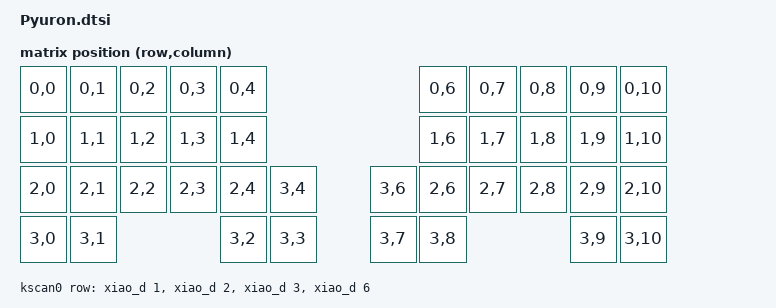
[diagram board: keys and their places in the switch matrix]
#include <dt-bindings/zmk/matrix_transform.h>
#include <dt-bindings/zmk/input_transform.h>
#include <dt-bindings/input/input-event-codes.h>
#include <dt-bindings/zmk/bt.h>
#include <input/processors.dtsi>
#include <physical_layouts.dtsi>
#include <dt-bindings/zmk/input.h>
#include <input/processors.dtsi>
#include <input/processors/runtime-input-processor.dtsi>
// The .dtsi provides default device definitions
// - mouse_runtime_input_processor
// - scroll_runtime_input_processor

/ {
    // Then use it in your input device configuration
    my_input_listener {
        // ... other config ...
        input-processors = <&mouse_runtime_input_processor>;

        scroller {
			// layers = <9>;
			input-processors = <&zip_xy_to_scroll_mapper &scroll_runtime_input_processor>;
		};
    };

    // For split keyboard, you can configure input processor in central
    split_input: split_input {
        compatible = "zmk,input-split"
    };
    split_listener: split_listener {
        compatible = "zmk,input-listener";
        status = <disabled>;
        device = <&split_input>;
    };

    my_rip: my_rip {
		compatible = "zmk,input-processor-runtime";
		processor-label = "custom";
		type = <INPUT_EV_REL>;
		x-codes = <INPUT_REL_X>;
		y-codes = <INPUT_REL_Y>;
		scale-multiplier = <1>;
		scale-divisor = <1>;
		rotation-degrees = <0>;
		track-remainders;

		// Optional: Temp-layer layer default settings
		temp-layer-enabled;  // Enable temp-layer by default
		temp-layer = <1>;  // Default to layer 1
		temp-layer-activation-delay-ms = <100>;  // 100ms activation delay
		temp-layer-deactivation-delay-ms = <500>;  // 500ms deactivation delay

		// Optional: Active layers configuration
		// Bitmask of layers where processor should be active (0 = all layers)
		// Each bit represents a layer: bit 0 = layer 0, bit 1 = layer 1, etc.
		// Example: active-layers = <0x00000003> activates on layers 0 and 1 only
		active-layers = <0>;  // Default: active on all layers

		// Optional: Performance optimization
		temp-layer-transparent-behavior = <&trans>;
		temp-layer-kp-behavior = <&kp>;
		temp-layer-keep-keycodes = <LEFT_CONTROL LEFT_SHIFT LEFT_ALT LEFT_GUI RIGHT_CONTROL RIGHT_SHIFT RIGHT_ALT RIGHT_GUI>;

		#input-processor-cells = <0>;
	};
};

// <central>.overlay
&split_listener {
    status = "okay";
    input-processors = <&my_rip>;
};
&uicr {
    nfct-pins-as-gpios;
};

/ {
    chosen {
        zmk,physical-layout = &default_layout;
    };

split_inputs {
      #address-cells = <1>;
      #size-cells = <0>;

      trackball_split_L: trackball_split_L@0 {
        compatible = "zmk,input-split";
        reg = <0>;
      };
    };

    trackball_listener_L: trackball_listener_L {
      compatible = "zmk,input-listener";
      status = "disabled";
      device = <&trackball_split_L>;
        input-processors =
            <&zip_xy_transform (INPUT_TRANSFORM_XY_SWAP | INPUT_TRANSFORM_X_INVERT)>;
    };

    trackball_listener_R: trackball_listener_R {
      compatible = "zmk,input-listener";
      status = "disabled";
        input-processors =
            <&zip_xy_transform (INPUT_TRANSFORM_XY_SWAP | INPUT_TRANSFORM_Y_INVERT)>;
    };

    default_transform: keymap_transform_0 {
        compatible = "zmk,matrix-transform";
        columns = <11>;
        rows = <4>;               
        map = <
            RC(0,0) RC(0,1) RC(0,2) RC(0,3) RC(0,4)                     RC(0,6) RC(0,7) RC(0,8) RC(0,9) RC(0,10)
            RC(1,0) RC(1,1) RC(1,2) RC(1,3) RC(1,4)                     RC(1,6) RC(1,7) RC(1,8) RC(1,9) RC(1,10)
            RC(2,0) RC(2,1) RC(2,2) RC(2,3) RC(2,4) RC(3,4)     RC(3,6) RC(2,6) RC(2,7) RC(2,8) RC(2,9) RC(2,10)
            RC(3,0) RC(3,1)                 RC(3,2) RC(3,3)     RC(3,7) RC(3,8)                 RC(3,9) RC(3,10)
        >;
    };

    kscan0: kscan {
        compatible = "zmk,kscan-gpio-matrix";
        label = "KSCAN";
        diode-direction = "col2row";
        wakeup-source;

            row-gpios
                = <&xiao_d 1 (GPIO_ACTIVE_HIGH | GPIO_PULL_DOWN)> 
                , <&xiao_d 2 (GPIO_ACTIVE_HIGH | GPIO_PULL_DOWN)> 
                , <&xiao_d 3 (GPIO_ACTIVE_HIGH | GPIO_PULL_DOWN)> 
                , <&xiao_d 6 (GPIO_ACTIVE_HIGH | GPIO_PULL_DOWN)> 			
                ;
    };

    default_layout: default_layout {
        compatible = "zmk,physical-layout";
        display-name = "Default";

        kscan = <&kscan0>;
        transform = <&default_transform>;

        keys  //                     w   h    x    y     rot    rx    ry
            = <&key_physical_attrs 100 100    0    0       0     0     0>
            , <&key_physical_attrs 100 100  100    0       0     0     0>
            , <&key_physical_attrs 100 100  200    0       0     0     0>
            , <&key_physical_attrs 100 100  300    0       0     0     0>
            , <&key_physical_attrs 100 100  400    0       0     0     0>
            , <&key_physical_attrs 100 100  800    0       0     0     0>
            , <&key_physical_attrs 100 100  900    0       0     0     0>
            , <&key_physical_attrs 100 100 1000    0       0     0     0>
            , <&key_physical_attrs 100 100 1100    0       0     0     0>
            , <&key_physical_attrs 100 100 1200    0       0     0     0>
            , <&key_physical_attrs 100 100    0  100       0     0     0>
            , <&key_physical_attrs 100 100  100  100       0     0     0>
            , <&key_physical_attrs 100 100  200  100       0     0     0>
            , <&key_physical_attrs 100 100  300  100       0     0     0>
            , <&key_physical_attrs 100 100  400  100       0     0     0>
            , <&key_physical_attrs 100 100  800  100       0     0     0>
            , <&key_physical_attrs 100 100  900  100       0     0     0>
            , <&key_physical_attrs 100 100 1000  100       0     0     0>
            , <&key_physical_attrs 100 100 1100  100       0     0     0>
            , <&key_physical_attrs 100 100 1200  100       0     0     0>
            , <&key_physical_attrs 100 100    0  200       0     0     0>
            , <&key_physical_attrs 100 100  100  200       0     0     0>
            , <&key_physical_attrs 100 100  200  200       0     0     0>
            , <&key_physical_attrs 100 100  300  200       0     0     0>
            , <&key_physical_attrs 100 100  400  200       0     0     0>
            , <&key_physical_attrs 100 100  500  200       0     0     0>
            , <&key_physical_attrs 100 100  700  200       0     0     0>
            , <&key_physical_attrs 100 100  800  200       0     0     0>
            , <&key_physical_attrs 100 100  900  200       0     0     0>
            , <&key_physical_attrs 100 100 1000  200       0     0     0>
            , <&key_physical_attrs 100 100 1100  200       0     0     0>
            , <&key_physical_attrs 100 100 1200  200       0     0     0>
            , <&key_physical_attrs 100 100    0  300       0     0     0>
            , <&key_physical_attrs 100 100  100  300       0     0     0>
            , <&key_physical_attrs 100 100  400  300       0     0     0>
            , <&key_physical_attrs 100 100  500  300       0     0     0>
            , <&key_physical_attrs 100 100  700  300       0     0     0>
            , <&key_physical_attrs 100 100  800  300       0     0     0>
            , <&key_physical_attrs 100 100 1100  300       0     0     0>
            , <&key_physical_attrs 100 100 1200  300       0     0     0>
            ;
    };
};
